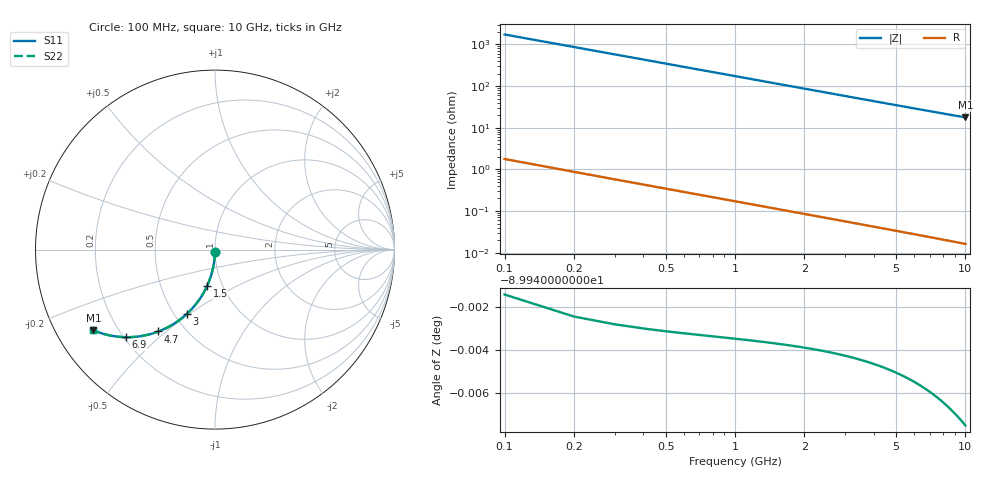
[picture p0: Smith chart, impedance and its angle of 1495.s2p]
# Hz S RI R 50.00
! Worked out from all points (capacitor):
!   100 points, 100 MHz to 10 GHz, reference 50 ohm
!   read as one part in shunt: C = 918 fF near 100 MHz
!   lowest |Z| = 17.7 ohm at 10 GHz (marker M1)
!   S11 on the Smith chart (normalised r, x): 100 MHz: 1.00, -0.03; 1.5 GHz: 0.84, -0.36; 3 GHz: 0.58, -0.49; 4.7 GHz: 0.36, -0.47; 6.9 GHz: 0.21, -0.39; 10 GHz: 0.11, -0.30
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1e8  -0.000172 -0.0142  0.9997 -0.0146  0.9997 -0.0146  -0.000172 -0.0142
2e8  -0.000808 -0.0285  0.9991 -0.0291  0.9991 -0.0291  -0.000808 -0.0285
3e8  -0.00186 -0.0427  0.998 -0.0437  0.998 -0.0437  -0.00186 -0.0427
4e8  -0.00332 -0.0568  0.9966 -0.0581  0.9966 -0.0581  -0.00332 -0.0568
5e8  -0.00518 -0.0709  0.9947 -0.0725  0.9947 -0.0725  -0.00518 -0.0709
6e8  -0.00745 -0.0848  0.9924 -0.0868  0.9924 -0.0868  -0.00745 -0.0848
7e8  -0.0101 -0.0987  0.9898 -0.101  0.9898 -0.101  -0.0101 -0.0987
9e8  -0.0166 -0.126  0.9833 -0.129  0.9833 -0.129  -0.0166 -0.126
1.2e9  -0.0291 -0.1659  0.9707 -0.1699  0.9707 -0.1699  -0.0291 -0.1659
1.5e9  -0.0448 -0.204  0.9551 -0.209  0.9551 -0.209  -0.0448 -0.204
1.8e9  -0.0632 -0.24  0.9366 -0.246  0.9366 -0.246  -0.0632 -0.24
2.4e9  -0.1071 -0.3048  0.8928 -0.3128  0.8928 -0.3128  -0.1071 -0.3048
3e9  -0.1578 -0.3591  0.842 -0.3692  0.842 -0.3692  -0.1578 -0.3591
3.4e9  -0.194 -0.3893  0.8058 -0.4007  0.8058 -0.4007  -0.194 -0.3893
4e9  -0.2499 -0.4258  0.7499 -0.4392  0.7499 -0.4392  -0.2499 -0.4258
4.7e9  -0.3152 -0.4562  0.6846 -0.472  0.6846 -0.472  -0.3152 -0.4562
5.1e9  -0.3515 -0.4684  0.6482 -0.4856  0.6482 -0.4856  -0.3515 -0.4684
5.9e9  -0.4207 -0.4832  0.579 -0.5032  0.579 -0.5032  -0.4207 -0.4832
6.7e9  -0.4838 -0.4879  0.5158 -0.5106  0.5158 -0.5106  -0.4838 -0.4879
6.9e9  -0.4986 -0.4878  0.501 -0.5112  0.501 -0.5112  -0.4986 -0.4878
8.4e9  -0.5963 -0.4757  0.4031 -0.5044  0.4031 -0.5044  -0.5963 -0.4757
1e10  -0.6775 -0.4496  0.3218 -0.484  0.3218 -0.484  -0.6775 -0.4496
